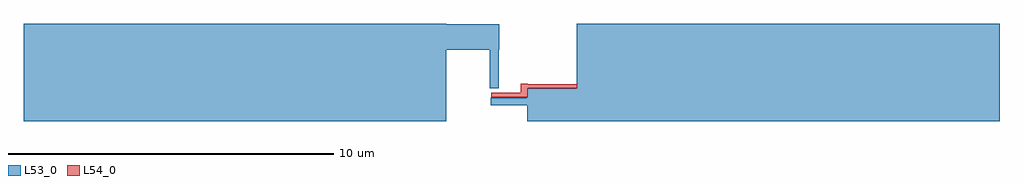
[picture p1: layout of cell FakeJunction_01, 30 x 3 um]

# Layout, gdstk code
import gdstk
lib = gdstk.Library(unit=1e-6, precision=1e-09)
def R(c, l, rs):  # rectangles x0, y0, x1, y1
    for r in rs: c.add(gdstk.rectangle(r[:2], r[2:], *l))
L53_0 = (53, 0)
L54_0 = (54, 0)

fakejunction_01 = lib.new_cell('FakeJunction_01')
R(fakejunction_01, L53_0, [(0.489,-1.503,2.001,-0.489), (-15,-1.5,-2,1.5), (2,-1.5,15,1.5), (-0.636,-1.005,0.507,-0.774), (-0.673,-0.489,-0.396,0.701), (-1.999,0.702,-0.378,1.477)])
R(fakejunction_01, L54_0, [(-0.627,-0.765,0.507,-0.618), (0.286,-0.618,0.498,-0.341), (0.498,-0.489,2.019,-0.36)])

lib.write_gds('FakeJunction_01.gds')
